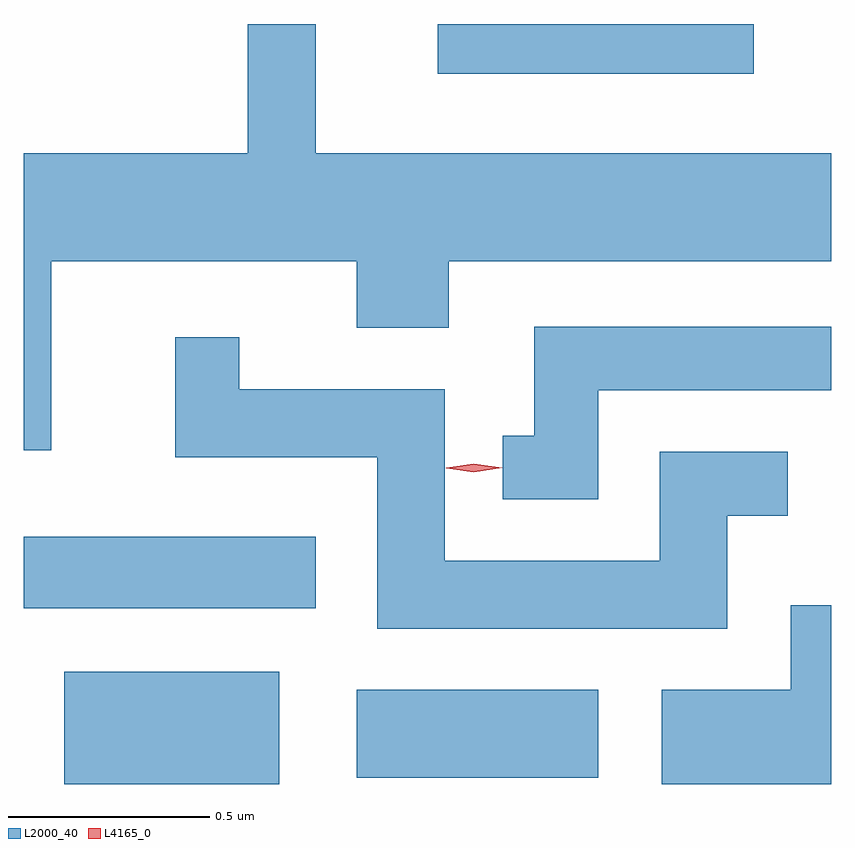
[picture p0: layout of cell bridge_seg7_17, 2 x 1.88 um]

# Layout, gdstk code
import gdstk
lib = gdstk.Library(unit=1e-6, precision=1e-09)
def R(c, l, rs):  # rectangles x0, y0, x1, y1
    for r in rs: c.add(gdstk.rectangle(r[:2], r[2:], *l))
def P(c, l, *ps):  # polygons
    for p in ps: c.add(gdstk.Polygon(p, *l))
L2000_40 = (2000, 40)
L4165_0 = (4165, 0)

bridge_seg7_17 = lib.new_cell('bridge_seg7_17')
R(bridge_seg7_17, L2000_40, [(1667.886,1752.981,1668.419,1753.259), (1668.611,1752.996,1669.209,1753.214), (1667.786,1753.416,1668.509,1753.594), (1668.811,1754.741,1669.594,1754.864)])
P(bridge_seg7_17, L2000_40, [(1667.854,1754.276),(1668.611,1754.276),(1668.611,1754.111),(1668.839,1754.111),(1668.839,1754.276),(1669.786,1754.276),(1669.786,1754.544),(1668.509,1754.544),(1668.509,1754.864),(1668.341,1754.864),(1668.341,1754.544),(1667.786,1754.544),(1667.786,1753.808),(1667.854,1753.808)],
  [(1669.209,1753.956),(1669.786,1753.956),(1669.786,1754.114),(1669.051,1754.114),(1669.051,1753.844),(1668.973,1753.844),(1668.973,1753.686),(1669.209,1753.686)],
  [(1669.529,1753.646),(1669.678,1753.646),(1669.678,1753.804),(1669.361,1753.804),(1669.361,1753.534),(1668.829,1753.534),(1668.829,1753.959),(1668.319,1753.959),(1668.319,1754.088),(1668.161,1754.088),(1668.161,1753.791),(1668.661,1753.791),(1668.661,1753.366),(1669.529,1753.366)],
  [(1669.786,1753.424),(1669.686,1753.424),(1669.686,1753.214),(1669.366,1753.214),(1669.366,1752.981),(1669.786,1752.981)])
P(bridge_seg7_17, L4165_0, [(1668.901,1753.754),(1668.832,1753.763),(1668.832,1753.764),(1668.832,1753.764),(1668.901,1753.774),(1668.971,1753.765),(1668.971,1753.765),(1668.971,1753.764)])

lib.write_gds('bridge_seg7_17.gds')
